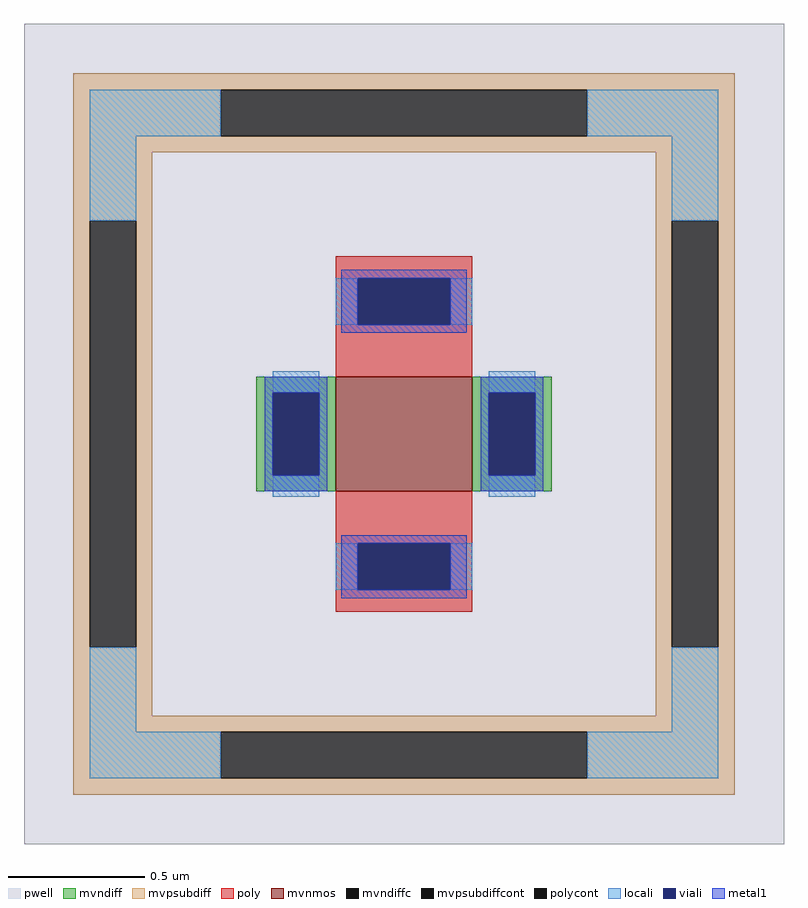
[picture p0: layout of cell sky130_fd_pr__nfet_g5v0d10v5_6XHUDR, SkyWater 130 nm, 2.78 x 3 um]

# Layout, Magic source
magic
tech sky130A
<< pwell >>
rect -139 -150 139 150
<< mvnmos >>
rect -25 -21 25 21
<< mvndiff >>
rect -54 15 -25 21
rect -54 -15 -48 15
rect -31 -15 -25 15
rect -54 -21 -25 -15
rect 25 15 54 21
rect 25 -15 31 15
rect 48 -15 54 15
rect 25 -21 54 -15
<< mvndiffc >>
rect -48 -15 -31 15
rect 31 -15 48 15
<< mvpsubdiff >>
rect -121 126 121 132
rect -121 109 -67 126
rect 67 109 121 126
rect -121 103 121 109
rect -121 78 -92 103
rect -121 -78 -115 78
rect -98 -78 -92 78
rect 92 78 121 103
rect -121 -103 -92 -78
rect 92 -78 98 78
rect 115 -78 121 78
rect 92 -103 121 -78
rect -121 -109 121 -103
rect -121 -126 -67 -109
rect 67 -126 121 -109
rect -121 -132 121 -126
<< mvpsubdiffcont >>
rect -67 109 67 126
rect -115 -78 -98 78
rect 98 -78 115 78
rect -67 -126 67 -109
<< poly >>
rect -25 57 25 65
rect -25 40 -17 57
rect 17 40 25 57
rect -25 21 25 40
rect -25 -40 25 -21
rect -25 -57 -17 -40
rect 17 -57 25 -40
rect -25 -65 25 -57
<< polycont >>
rect -17 40 17 57
rect -17 -57 17 -40
<< locali >>
rect -115 109 -67 126
rect 67 109 115 126
rect -115 78 -98 109
rect 98 78 115 109
rect -25 40 -17 57
rect 17 40 25 57
rect -48 15 -31 23
rect -48 -23 -31 -15
rect 31 15 48 23
rect 31 -23 48 -15
rect -25 -57 -17 -40
rect 17 -57 25 -40
rect -115 -109 -98 -78
rect 98 -109 115 -78
rect -115 -126 -67 -109
rect 67 -126 115 -109
<< viali >>
rect -17 40 17 57
rect -48 -15 -31 15
rect 31 -15 48 15
rect -17 -57 17 -40
<< metal1 >>
rect -23 57 23 60
rect -23 40 -17 57
rect 17 40 23 57
rect -23 37 23 40
rect -51 15 -28 21
rect -51 -15 -48 15
rect -31 -15 -28 15
rect -51 -21 -28 -15
rect 28 15 51 21
rect 28 -15 31 15
rect 48 -15 51 15
rect 28 -21 51 -15
rect -23 -40 23 -37
rect -23 -57 -17 -40
rect 17 -57 23 -40
rect -23 -60 23 -57
<< properties >>
string FIXED_BBOX -106 -117 106 117
string gencell sky130_fd_pr__nfet_g5v0d10v5
string library sky130
string parameters w 0.42 l 0.5 m 1 nf 1 diffcov 100 polycov 100 guard 1 glc 1 grc 1 gtc 1 gbc 1 tbcov 100 rlcov 100 topc 1 botc 1 poverlap 0 doverlap 1 lmin 0.50 wmin 0.42 compatible {sky130_fd_pr__nfet_01v8 sky130_fd_pr__nfet_01v8_lvt  sky130_fd_bs_flash__special_sonosfet_star  sky130_fd_pr__nfet_g5v0d10v5 sky130_fd_pr__nfet_05v0_nvt  sky130_fd_pr__nfet_03v3_nvt} full_metal 1 viasrc 100 viadrn 100 viagate 100 viagb 0 viagr 0 viagl 0 viagt 0
<< end >>
